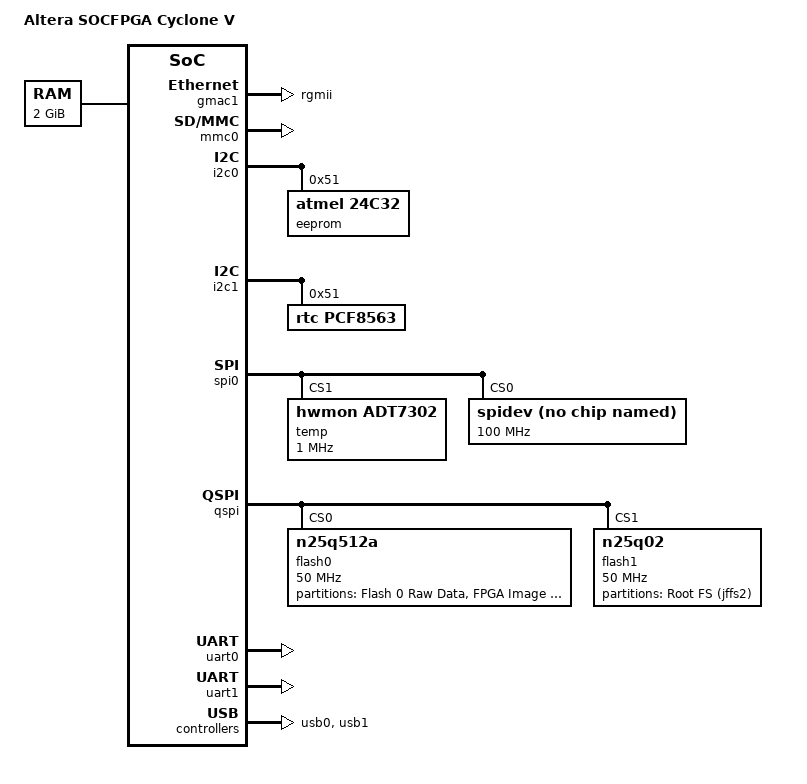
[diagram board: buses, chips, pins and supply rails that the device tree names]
/*
 * Copyright Altera Corporation (C) 2012,2014. All rights reserved.
 *
 * This program is free software; you can redistribute it and/or modify
 * it under the terms and conditions of the GNU General Public License,
 * version 2, as published by the Free Software Foundation.
 *
 * This program is distributed in the hope it will be useful, but WITHOUT
 * ANY WARRANTY; without even the implied warranty of MERCHANTABILITY or
 * FITNESS FOR A PARTICULAR PURPOSE.  See the GNU General Public License for
 * more details.
 *
 * You should have received a copy of the GNU General Public License along with
 * this program.  If not, see <http://www.gnu.org/licenses/>.
 */

#include "socfpga_cyclone5.dtsi"

/ {
	model = "Altera SOCFPGA Cyclone V";
	compatible = "altr,socfpga-cyclone5", "altr,socfpga";

	chosen {
		bootargs = "earlyprintk";
		stdout-path = "serial0:115200n8";
	};

	memory {
		name = "memory";
		device_type = "memory";
		reg = <0x0 0x80000000>; 
	};

	aliases {
	        serial0 = &uart0;
	        serial1 = &uart1;
		/* this allow the ethaddr uboot environmnet variable contents
		 * to be added to the gmac1 device tree blob.
		 */
		ethernet0 = &gmac1;
	};

	clocks {
	        #address-cells = < 1 >;
		#size-cells = < 1 >;
		
		clk_0: clk_0 {
			compatible = "fixed-clock";
			#clock-cells = < 0 >;
			clock-frequency = < 60000000 >;	/* 60.00 MHz */
			clock-output-names = "clk_0-clk";
		}; //end clk_0 (clk_0)

		Vanquish_FPGA_IO_HPS_CLK: Vanquish_FPGA_IO_HPS_CLK {
			compatible = "fixed-clock";
			#clock-cells = < 0 >;
			clock-frequency = < 60000000 >;	/* 60.00 MHz */
			clock-output-names = "Vanquish_FPGA_IO_HPS_CLK-clk";
		}; //end Vanquish_FPGA_IO_HPS_CLK (Vanquish_FPGA_IO_HPS_CLK)

        Vanquish_FPGA_IO_alt_vip_vfr_0: vip@0x00044000 {
            compatible = "ALTR,vip-frame-reader-14.0", "ALTR,vip-frame-reader-9.1";
            reg = < 0x00044000 0x00000080 >;
            interrupt-parent = < &intc >;
            interrupts = < 0 43 4 >;
            clocks = < &Vanquish_FPGA_IO_HPS_CLK &Vanquish_FPGA_IO_HPS_CLK >;
            clock-names = "clock_reset", "clock_master";
            max-width = < 480 >;    /* MAX_IMAGE_WIDTH type NUMBER */
            max-height = < 272 >;   /* MAX_IMAGE_HEIGHT type NUMBER */
            bits-per-color = < 8 >; /* BITS_PER_PIXEL_PER_COLOR_PLANE type NUMBER */
            colors-per-beat = < 4 >;    /* NUMBER_OF_CHANNELS_IN_PARALLEL type NUMBER */
            beats-per-pixel = < 1 >;    /* NUMBER_OF_CHANNELS_IN_SEQUENCE type NUMBER */
            mem-word-width = < 128 >;   /* MEM_PORT_WIDTH type NUMBER */
        }; //end vip@0x100044000 (Vanquish_FPGA_IO_alt_vip_vfr_0)
    };      

    pmu {
        compatible = "arm,cortex-a9-pmu";
        interrupt-parent = <&intc>;
        interrupts = <0 176 4>;
        interrupt-affinity = <&cpu0>;
        reg = <0xff111000 0x1000>;
    };
		
};


&gmac1 {
	status = "okay";
	phy-mode = "rgmii";
	snps,phy-addr = < 0xFFFFFFFF >;
	phy-addr = < 0xFFFFFFFF >;

	rxd0-skew-ps = <0>;
	rxd1-skew-ps = <0>;
	rxd2-skew-ps = <0>;
	rxd3-skew-ps = <0>;
	txen-skew-ps = <0>;
	txc-skew-ps = <3000>;
	rxdv-skew-ps = <0>;
	rxc-skew-ps = <3000>;
	max-frame-size = <3800>;
};

&mmc0 {
	status = "okay";
};

&i2c0 {
	status = "okay";
	speed-mode = <0>;

	eeprom@51 {
		compatible = "atmel,24c32";
		reg = <0x51>;
		pagesize = <32>;
	};
};

&i2c1 {
        status = "okay";
	speed-mode = <0>;
	
	rtc@51 {
		compatible = "rtc,pcf8563";
		reg = <0x51>;
	};
};

&spi0 {
        #address-cells = < 1 >;	
        #size-cells = < 0 >;	
        bus-num = < 0 >;	
        num-chipselect = < 4 >;	
        status = "okay";	
        
        temp@1 {
                compatible = "hwmon,adt7302";
                reg = < 1 >;	
                spi-max-frequency = < 1000000 >;
		spi-cpha = < 1 >;
		spi-cpol = < 1 >;
		enable-dma = < 1 >;	
        };
        
        spidev@0 {
                compatible = "spidev";
                reg = < 0 >;
                spi-max-frequency = < 100000000 >;
                enable-dma = < 1 >;
        };
};

&qspi {

    status = "okay";
    flash0: n25q512@0 {
        #address-cells = <1>;
        #size-cells = <1>;
        compatible = "n25q512a";
        reg = <0>;      /* chip select */
        spi-max-frequency = <50000000>;

        cdns,page-size = <256>;
        cdns,block-size = <16>;
        cdns,read-delay = <4>;
        cdns,tshsl-ns = <50>;
        cdns,tsd2d-ns = <50>;
        cdns,tchsh-ns = <4>;
        cdns,tslch-ns = <4>;
        cdns,is-decoded-cs = <0>;

        part0: partition@0 {
            label = "Flash 0 Raw Data";	/* appended from boardinfo */
            reg = < 0x00000000 0x00800000 >;	/* appended from boardinfo */
        }; //end partition@0 (part0)

        part1: partition@800000 {
            label = "FPGA Image";	/* appended from boardinfo */
            reg = < 0x00800000 0x00600000 >;	/* appended from boardinfo */
        }; //end partition@800000 (part1)

        part2: partition@3800000 {
            label = "Splash Screen Image";	/* appended from boardinfo */
            reg = < 0x00e00000 0x00200000 >;	/* appended from boardinfo */
        }; //end partition@3800000 (part2)

        part3: partition@3e00000 {
            label = "Aux JFFS2 Image";	/* appended from boardinfo */
            reg = < 0x01000000 0x03000000 >;	/* appended from boardinfo */
        }; //end partition@3e00000 (part3)
    };

    flash1: n25q02@1 {
		#address-cells = <1>;
		#size-cells = <1>;
		compatible = "n25q02";
		reg = <1>;      /* chip select */
		spi-max-frequency = <50000000>;

		cdns,page-size = <256>;
		cdns,block-size = <16>;
		cdns,read-delay = <4>;
		cdns,tshsl-ns = <50>;
		cdns,tsd2d-ns = <50>;
		cdns,tchsh-ns = <4>;
		cdns,tslch-ns = <4>;

        part4: partition@0 {
            label = "Root FS (jffs2)";	/* appended from boardinfo */
            reg = < 0x00000000 0x10000000 >;	/* appended from boardinfo */
        }; //end partition@0 (part4)
    }; //end n25q02@1 (flash1)		
};

&uart0 {
	status = "okay";
};

&uart1 {
	status = "okay";
};

&usb0 {
	status = "okay";
};

&usb1 {
	status = "okay";
};
